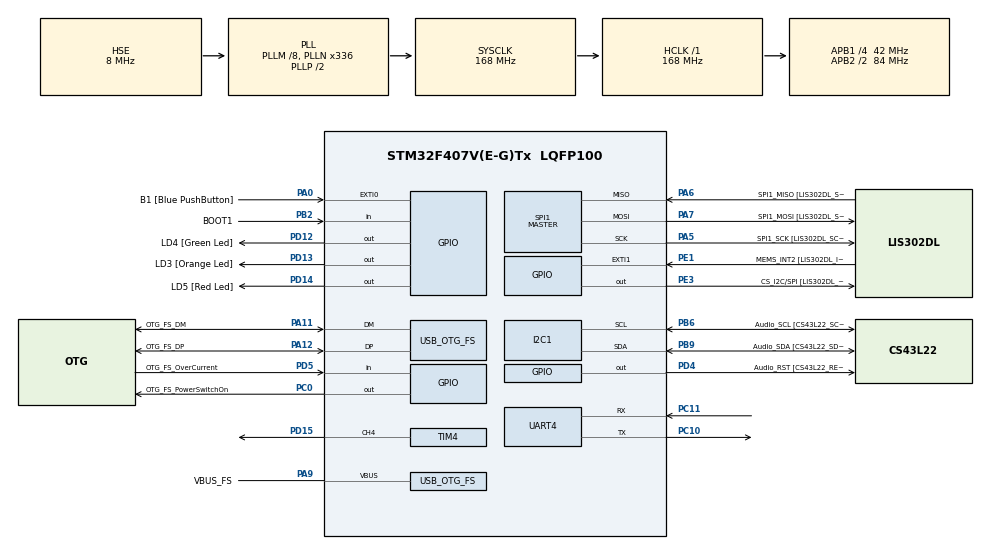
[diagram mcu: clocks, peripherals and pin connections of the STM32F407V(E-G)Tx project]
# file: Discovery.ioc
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Mcu.Family=STM32F4
Mcu.Name=STM32F407V(E-G)Tx
Mcu.Package=LQFP100
NVIC.EXTI0_IRQn=true\:0\:0\:false\:false\:true\:true\:true\:true
NVIC.OTG_FS_IRQn=true\:0\:0\:false\:false\:true\:true\:true\:true
NVIC.PriorityGroup=NVIC_PRIORITYGROUP_0
NVIC.TIM2_IRQn=true\:0\:0\:false\:false\:true\:true\:true\:true
NVIC.TIM4_IRQn=true\:0\:0\:false\:false\:true\:true\:true\:true
NVIC.UART4_IRQn=true\:0\:0\:false\:false\:true\:true\:true\:true
PA0-WKUP.GPIO_Label=B1 [Blue PushButton]
PA0-WKUP.GPIO_ModeDefaultEXTI=GPIO_MODE_IT_RISING
PA0-WKUP.GPIO_PuPd=GPIO_NOPULL
PA0-WKUP.Signal=GPXTI0
PA10.GPIO_Label=OTG_FS_ID
PA10.GPIO_Mode=GPIO_MODE_AF_PP
PA10.GPIO_PuPd=GPIO_NOPULL
PA10.GPIO_Speed=GPIO_SPEED_FREQ_LOW
PA10.Signal=USB_OTG_FS_ID
PA11.GPIO_Label=OTG_FS_DM
PA11.GPIO_Mode=GPIO_MODE_AF_PP
PA11.GPIO_PuPd=GPIO_NOPULL
PA11.GPIO_Speed=GPIO_SPEED_FREQ_LOW
PA11.Mode=Host_Only
PA11.Signal=USB_OTG_FS_DM
PA12.GPIO_Label=OTG_FS_DP
PA12.GPIO_Mode=GPIO_MODE_AF_PP
PA12.GPIO_PuPd=GPIO_NOPULL
PA12.GPIO_Speed=GPIO_SPEED_FREQ_LOW
PA12.Mode=Host_Only
PA12.Signal=USB_OTG_FS_DP
PA13.GPIO_Label=SWDIO
PA13.Mode=Serial_Wire
PA13.Signal=SYS_JTMS-SWDIO
PA14.GPIO_Label=SWCLK
PA14.Mode=Serial_Wire
PA14.Signal=SYS_JTCK-SWCLK
PA4.GPIO_Label=I2S3_WS [CS43L22_LRCK]
PA4.GPIO_Mode=GPIO_MODE_AF_PP
PA4.GPIO_PuPd=GPIO_NOPULL
PA4.GPIO_Speed=GPIO_SPEED_FREQ_LOW
PA4.Signal=I2S3_WS
PA5.GPIO_Label=SPI1_SCK [LIS302DL_SCL/SPC]
PA5.GPIO_Mode=GPIO_MODE_AF_PP
PA5.GPIO_PuPd=GPIO_NOPULL
PA5.GPIO_Speed=GPIO_SPEED_FREQ_LOW
PA5.Mode=Full_Duplex_Master
PA5.Signal=SPI1_SCK
PA6.GPIO_Label=SPI1_MISO [LIS302DL_SDO]
PA6.GPIO_Mode=GPIO_MODE_AF_PP
PA6.GPIO_PuPd=GPIO_NOPULL
PA6.GPIO_Speed=GPIO_SPEED_FREQ_LOW
PA6.Mode=Full_Duplex_Master
PA6.Signal=SPI1_MISO
PA7.GPIO_Label=SPI1_MOSI [LIS302DL_SDA/SDI/SDO]
PA7.GPIO_Mode=GPIO_MODE_AF_PP
PA7.GPIO_PuPd=GPIO_NOPULL
PA7.GPIO_Speed=GPIO_SPEED_FREQ_LOW
PA7.Mode=Full_Duplex_Master
PA7.Signal=SPI1_MOSI
PA9.GPIO_Label=VBUS_FS
PA9.GPIO_Mode=GPIO_MODE_INPUT
PA9.GPIO_PuPd=GPIO_NOPULL
PA9.Mode=Activate_VBUS
PA9.Signal=USB_OTG_FS_VBUS
PB10.GPIO_Label=CLK_IN [MP45DT02_CLK]
PB10.GPIO_Mode=GPIO_MODE_AF_PP
PB10.GPIO_PuPd=GPIO_NOPULL
PB10.GPIO_Speed=GPIO_SPEED_FREQ_LOW
PB10.Signal=I2S2_CK
PB2.GPIO_Label=BOOT1
PB2.GPIO_Mode=GPIO_MODE_INPUT
PB2.GPIO_PuPd=GPIO_NOPULL
PB2.Signal=GPIO_Input
PB3.GPIO_Label=SWO
PB3.Signal=SYS_JTDO-SWO
PB6.GPIO_Label=Audio_SCL [CS43L22_SCL]
PB6.GPIO_Mode=GPIO_MODE_AF_OD
PB6.GPIO_Pu=GPIO_PULLUP
PB6.GPIO_PuPd=GPIO_NOPULL
PB6.GPIO_Speed=GPIO_SPEED_FREQ_LOW
PB6.Mode=I2C
PB6.Signal=I2C1_SCL
PB9.GPIO_Label=Audio_SDA [CS43L22_SDA]
PB9.GPIO_Mode=GPIO_MODE_AF_OD
PB9.GPIO_Pu=GPIO_PULLUP
PB9.GPIO_PuPd=GPIO_NOPULL
PB9.GPIO_Speed=GPIO_SPEED_FREQ_LOW
PB9.Mode=I2C
PB9.Signal=I2C1_SDA
PC0.GPIO_Label=OTG_FS_PowerSwitchOn
PC0.GPIO_PuPd=GPIO_NOPULL
PC0.GPIO_Speed=GPIO_SPEED_FREQ_LOW
PC0.PinState=GPIO_PIN_SET
PC0.Signal=GPIO_Output
PC10.Mode=Asynchronous
PC10.Signal=UART4_TX
PC11.Mode=Asynchronous
PC11.Signal=UART4_RX
PC12.GPIO_Label=I2S3_SD [CS43L22_SDIN]
PC12.GPIO_Mode=GPIO_MODE_AF_PP
PC12.GPIO_PuPd=GPIO_NOPULL
PC12.GPIO_Speed=GPIO_SPEED_FREQ_LOW
PC12.Signal=I2S3_SD
PC14-OSC32_IN.GPIO_Label=PC14-OSC32_IN
PC14-OSC32_IN.Mode=LSE-External-Oscillator
PC14-OSC32_IN.Signal=RCC_OSC32_IN
PC15-OSC32_OUT.GPIO_Label=PC15-OSC32_OUT
PC15-OSC32_OUT.Mode=LSE-External-Oscillator
PC15-OSC32_OUT.Signal=RCC_OSC32_OUT
PC3.GPIO_Label=PDM_OUT [MP45DT02_DOUT]
PC3.GPIO_Mode=GPIO_MODE_AF_PP
PC3.GPIO_PuPd=GPIO_NOPULL
PC3.GPIO_Speed=GPIO_SPEED_FREQ_LOW
PC3.Signal=I2S2_SD
PC7.GPIO_Label=I2S3_MCK [CS43L22_MCLK]
PC7.GPIO_Mode=GPIO_MODE_AF_PP
PC7.GPIO_PuPd=GPIO_NOPULL
PC7.GPIO_Speed=GPIO_SPEED_FREQ_LOW
PC7.Signal=I2S3_MCK
PD12.GPIO_Label=LD4 [Green Led]
PD12.GPIO_PuPd=GPIO_NOPULL
PD12.GPIO_Speed=GPIO_SPEED_FREQ_LOW
PD12.Signal=GPIO_Output
PD13.GPIO_Label=LD3 [Orange Led]
PD13.GPIO_PuPd=GPIO_NOPULL
PD13.GPIO_Speed=GPIO_SPEED_FREQ_LOW
PD13.Signal=GPIO_Output
PD14.GPIO_Label=LD5 [Red Led]
PD14.GPIO_PuPd=GPIO_NOPULL
PD14.GPIO_Speed=GPIO_SPEED_FREQ_LOW
PD14.Signal=GPIO_Output
PD15.Signal=S_TIM4_CH4
PD4.GPIO_Label=Audio_RST [CS43L22_RESET]
PD4.GPIO_PuPd=GPIO_NOPULL
PD4.GPIO_Speed=GPIO_SPEED_FREQ_LOW
PD4.Signal=GPIO_Output
PD5.GPIO_Label=OTG_FS_OverCurrent
PD5.GPIO_Mode=GPIO_MODE_INPUT
PD5.GPIO_PuPd=GPIO_NOPULL
PD5.Signal=GPIO_Input
PE1.GPIO_Label=MEMS_INT2 [LIS302DL_INT2]
PE1.GPIO_ModeDefaultEXTI=GPIO_MODE_EVT_RISING
PE1.GPIO_PuPd=GPIO_NOPULL
PE1.Signal=GPXTI1
PE3.GPIO_Label=CS_I2C/SPI [LIS302DL_CS_I2C/SPI]
PE3.GPIO_PuPd=GPIO_NOPULL
PE3.GPIO_Speed=GPIO_SPEED_FREQ_LOW
PE3.Signal=GPIO_Output
PH0-OSC_IN.GPIO_Label=PH0-OSC_IN
PH0-OSC_IN.Mode=HSE-External-Oscillator
PH0-OSC_IN.Signal=RCC_OSC_IN
PH1-OSC_OUT.GPIO_Label=PH1-OSC_OUT
PH1-OSC_OUT.Mode=HSE-External-Oscillator
PH1-OSC_OUT.Signal=RCC_OSC_OUT
ProjectManager.HeapSize=0x200
ProjectManager.StackSize=0x400
ProjectManager.TargetToolchain=STM32CubeIDE
RCC.48MHZClocksFreq_Value=48000000
RCC.AHBFreq_Value=168000000
RCC.APB1CLKDivider=RCC_HCLK_DIV4
RCC.APB1Freq_Value=42000000
RCC.APB1TimFreq_Value=84000000
RCC.APB2CLKDivider=RCC_HCLK_DIV2
RCC.APB2Freq_Value=84000000
RCC.APB2TimFreq_Value=168000000
RCC.CortexFreq_Value=168000000
RCC.HCLKFreq_Value=168000000
RCC.HSE_VALUE=8000000
RCC.HSI_VALUE=16000000
RCC.PLLM=8
RCC.PLLN=336
RCC.PLLQ=7
RCC.SYSCLKFreq_VALUE=168000000
RCC.SYSCLKSource=RCC_SYSCLKSOURCE_PLLCLK
RCC.VCOOutputFreq_Value=336000000
SH.S_TIM4_CH4.0=TIM4_CH4,PWM Generation4 CH4
SPI1.BaudRatePrescaler-Full_Duplex_Master=SPI_BAUDRATEPRESCALER_2
SPI1.CalculateBaudRate-Full_Duplex_Master=42.0 MBits/s
SPI1.Direction=SPI_DIRECTION_2LINES
SPI1.Mode=SPI_MODE_MASTER
SPI1.Mode-Full_Duplex_Master=SPI_MODE_MASTER
SPI1.VirtualType=VM_MASTER
TIM2.Period=10000-1
TIM2.Prescaler=8400-1
TIM4.Channel-PWM\ Generation4\ CH4=TIM_CHANNEL_4
TIM4.Period=42000-1
TIM4.Prescaler=20-1
TIM4.Pulse-PWM\ Generation4\ CH4=21000-1
UART4.VirtualMode=Asynchronous
USB_HOST.BSP.number=1
USB_HOST.USBH_HandleTypeDef-CDC_FS=hUsbHostFS
USB_HOST.VirtualModeFS=Cdc
USB_HOST0.BSP.STBoard=false
USB_HOST0.BSP.api=Unknown
USB_HOST0.BSP.instance=PC0
USB_HOST0.BSP.ip=GPIO
USB_HOST0.BSP.mode=Output
USB_HOST0.BSP.name=Drive_VBUS_FS
USB_HOST0.BSP.solution=PC0
USB_OTG_FS.VirtualMode=Host_Only
USB_OTG_FS.phy_itface=HCD_PHY_EMBEDDED
VP_TIM2_VS_ClockSourceINT.Mode=Internal
VP_TIM4_VS_ClockSourceINT.Mode=Internal
VP_USB_HOST_VS_USB_HOST_CDC_FS.Mode=CDC_FS
board=STM32F407G-DISC1

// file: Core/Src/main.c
/* USER CODE BEGIN Header */
/**
 ******************************************************************************
 * @file           : main.c
 * @brief          : Main program body
 ******************************************************************************
 * @attention
 *
 * Copyright (c) 2022 STMicroelectronics.
 * All rights reserved.
 *
 * This software is licensed under terms that can be found in the LICENSE file
 * in the root directory of this software component.
 * If no LICENSE file comes with this software, it is provided AS-IS.
 *
 ******************************************************************************
 */
/* USER CODE END Header */
#include "main.h"
#include "i2c.h"
#include "spi.h"
#include "tim.h"
#include "usart.h"
#include "usb_host.h"
#include "gpio.h"

/* USER CODE BEGIN Includes */
#include "Define.h"
#include <stdio.h>
/* USER CODE END Includes */

/* USER CODE BEGIN PV */
//CCR for PWM Testing
uint16_t ccr = 0;

//v for Polling UART Testing
uint8_t a = 'a';

//v for Prinft
uint8_t n = 0;
float f = 1.234;

//UART IT Rx Data
uint8_t rx4_data;

/* USER CODE END PV */

void SystemClock_Config(void);
void MX_USB_HOST_Process(void);

/* USER CODE BEGIN PFP */
// function for printf
//int 다음에 한칸 띄고 시작
//int _write(int file, char *p, int len) {
//	//Parameter: output uart, output char, output length, timeout
//	//(uint8_t*)p로 cast해야 부호 관련 경고가 사라짐
//	HAL_UART_Transmit(&huart4, (uint8_t*)p, len, 10);
//	return len;
//}

/* USER CODE END PFP */

int main(void)
{

  /* MCU Configuration--------------------------------------------------------*/

  /* Reset of all peripherals, Initializes the Flash interface and the Systick. */
  HAL_Init();

  /* Configure the system clock */
  SystemClock_Config();

  /* Initialize all configured peripherals */
  MX_GPIO_Init();
  MX_I2C1_Init();
  MX_SPI1_Init();
  MX_USB_HOST_Init();
  MX_TIM4_Init();
  MX_TIM2_Init();
  MX_UART4_Init();

  /* USER CODE BEGIN 2 */
	HAL_TIM_PWM_Start(&htim4, TIM_CHANNEL_4);
	HAL_TIM_Base_Start_IT(&htim2);
	HAL_UART_Receive_IT(&huart4, (uint8_t*)&rx4_data, 1);
  /* USER CODE END 2 */

  /* Infinite loop */
  /* USER CODE BEGIN WHILE */
	while (1)
	{
		//매크로 (언더바 2개)
		__HAL_TIM_SET_COMPARE(&htim4, TIM_CHANNEL_4, ccr);
		//TIM4 -> CCR4 = ccr; //위의 매크로 대신 이렇게 써도됨
		ccr += 1000;
		if(ccr > TIM4->ARR) ccr = 0;
		HAL_Delay(50);

		//UART Polling
		//HAL_OK는 수신이 완료되었느냐를 판단 수신이 &a에 완료되면 if로 이동
		//	  if(HAL_UART_Receive(&huart4, &a, 1, 10) == HAL_OK) {
		//		  //받은 &a Data를 전송
		//		  HAL_UART_Transmit(&huart4, &a, 1, 10);
		//}

		//Testinf for printf
//		printf("Hello %d\n", n++);
//		HAL_Delay(1000);
		//Hello 0
		//Hello 1
		//Hello 2
		// ...
		//prinf의 출력은 정수형만 출력됨
		//만일 printf("Hello %f\n", f); 시 값이 출력 안됨
	}
    /* USER CODE END WHILE */
    MX_USB_HOST_Process();
}

void SystemClock_Config(void)
{
  RCC_OscInitTypeDef RCC_OscInitStruct = {0};
  RCC_ClkInitTypeDef RCC_ClkInitStruct = {0};

  /** Configure the main internal regulator output voltage
  */
  __HAL_RCC_PWR_CLK_ENABLE();
  __HAL_PWR_VOLTAGESCALING_CONFIG(PWR_REGULATOR_VOLTAGE_SCALE1);

  /** Initializes the RCC Oscillators according to the specified parameters
  * in the RCC_OscInitTypeDef structure.
  */
  RCC_OscInitStruct.OscillatorType = RCC_OSCILLATORTYPE_HSE;
  RCC_OscInitStruct.HSEState = RCC_HSE_ON;
  RCC_OscInitStruct.PLL.PLLState = RCC_PLL_ON;
  RCC_OscInitStruct.PLL.PLLSource = RCC_PLLSOURCE_HSE;
  RCC_OscInitStruct.PLL.PLLM = 8;
  RCC_OscInitStruct.PLL.PLLN = 336;
  RCC_OscInitStruct.PLL.PLLP = RCC_PLLP_DIV2;
  RCC_OscInitStruct.PLL.PLLQ = 7;
  if (HAL_RCC_OscConfig(&RCC_OscInitStruct) != HAL_OK)
  {
    Error_Handler();
  }

  /** Initializes the CPU, AHB and APB buses clocks
  */
  RCC_ClkInitStruct.ClockType = RCC_CLOCKTYPE_HCLK|RCC_CLOCKTYPE_SYSCLK
                              |RCC_CLOCKTYPE_PCLK1|RCC_CLOCKTYPE_PCLK2;
  RCC_ClkInitStruct.SYSCLKSource = RCC_SYSCLKSOURCE_PLLCLK;
  RCC_ClkInitStruct.AHBCLKDivider = RCC_SYSCLK_DIV1;
  RCC_ClkInitStruct.APB1CLKDivider = RCC_HCLK_DIV4;
  RCC_ClkInitStruct.APB2CLKDivider = RCC_HCLK_DIV2;

  if (HAL_RCC_ClockConfig(&RCC_ClkInitStruct, FLASH_LATENCY_5) != HAL_OK)
  {
    Error_Handler();
  }
}

/* USER CODE BEGIN 4 */

//Interrupt Switch
void HAL_GPIO_EXTI_Callback(uint16_t GPIO_Pin){
	if(GPIO_Pin == GPIO_PIN_0) {
		Blue_LED_Toggle;
	}
}

//Timer Callback
void HAL_TIM_PeriodElapsedCallback(TIM_HandleTypeDef *htim){
	if(htim -> Instance == TIM2) {
		Green_LED_Toggle;
	}
}

//Rx Complete Call Back
void HAL_UART_RxCpltCallback(UART_HandleTypeDef *huart){
	if(huart -> Instance == UART4) {
		HAL_UART_Receive_IT(&huart4, (uint8_t*)&rx4_data, 1);
		Red_LED_Toggle;
		HAL_UART_Transmit(&huart4, (uint8_t*)&rx4_data, 1, 10);
	}
}

/* USER CODE END 4 */

void Error_Handler(void)
{
	__disable_irq();
	while (1)
	{
	}
}
